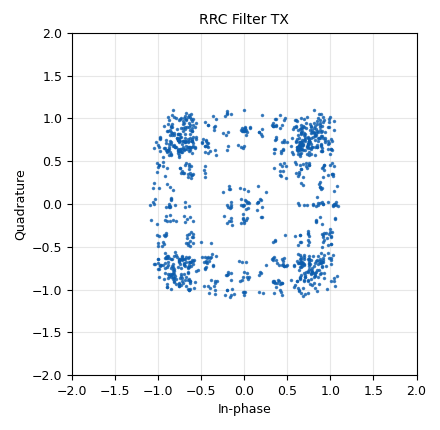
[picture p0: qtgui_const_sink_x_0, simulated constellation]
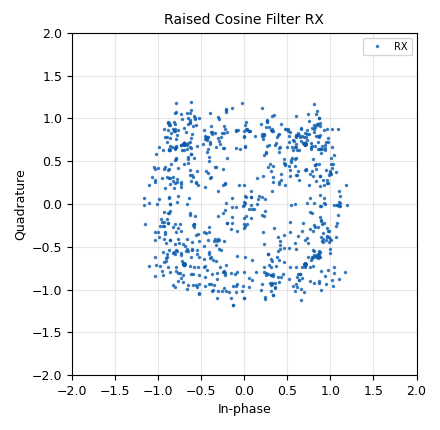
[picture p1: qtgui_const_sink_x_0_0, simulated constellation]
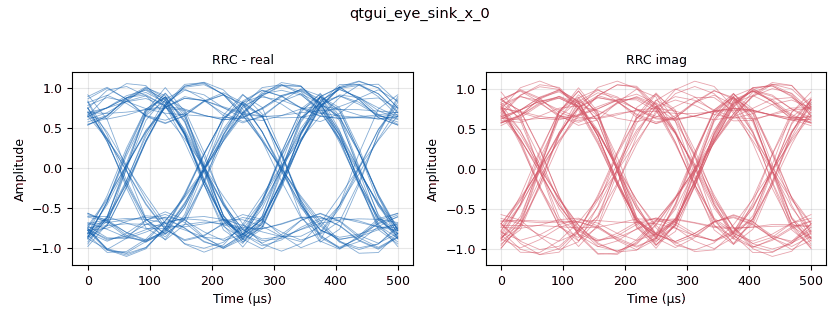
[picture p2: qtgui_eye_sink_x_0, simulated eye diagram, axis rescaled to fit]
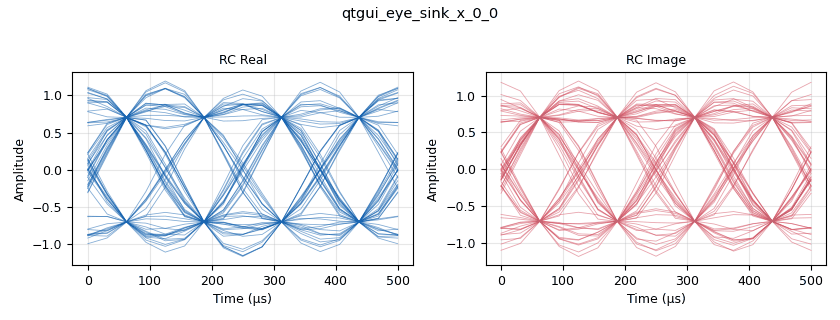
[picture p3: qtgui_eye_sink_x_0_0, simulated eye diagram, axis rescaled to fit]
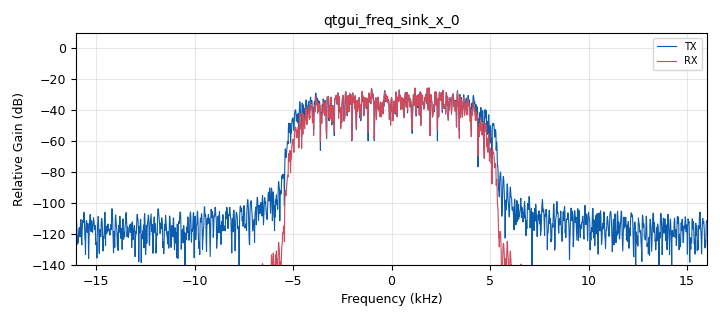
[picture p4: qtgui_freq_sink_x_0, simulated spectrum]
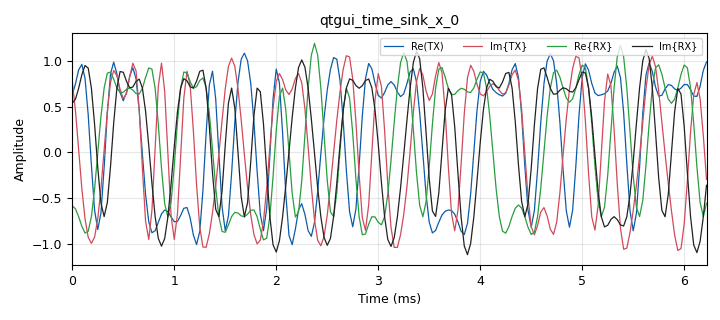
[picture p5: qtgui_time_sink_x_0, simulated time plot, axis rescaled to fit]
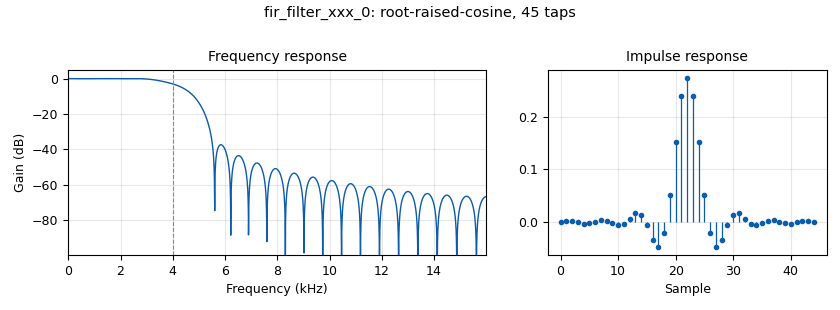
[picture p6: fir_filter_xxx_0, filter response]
options:
  parameters:
    generate_options: qt_gui
    id: QPSK_rx_tx
    output_language: python
    title: QPSK Stage 1
  states: {}

blocks:
- name: excess_bw
  id: variable
  parameters:
    value: '0.35'
  states: {}
- name: qpsk
  id: variable_constellation_rect
  parameters:
    const_points: '[0.707+0.707j, -0.707+0.707j, -0.707-0.707j, 0.707-0.707j]'
    imag_sect: '2'
    real_sect: '2'
    rot_sym: '4'
    sym_map: '[0, 1, 3, 2]'
    w_imag_sect: '1'
    w_real_sect: '1'
  states: {}
- name: rrc_taps
  id: variable
  parameters:
    value: firdes.root_raised_cosine(1.0,samp_rate,samp_rate/sps,excess_bw,11*sps)
  states: {}
- name: samp_rate
  id: variable
  parameters:
    value: '32000'
  states: {}
- name: sps
  id: variable
  parameters:
    value: '4'
  states: {}
- name: analog_random_source_x_0
  id: analog_random_source_x
  parameters:
    max: '256'
    min: '0'
    num_samps: '10000'
    repeat: 'True'
    type: byte
  states: {}
- name: blocks_throttle2_0
  id: blocks_throttle2
  parameters:
    samples_per_second: samp_rate
    type: complex
  states: {}
- name: digital_constellation_modulator_0
  id: digital_constellation_modulator
  parameters:
    constellation: qpsk
    differential: 'True'
    excess_bw: excess_bw
    samples_per_symbol: sps
  states: {}
- name: fir_filter_xxx_0
  id: fir_filter_xxx
  parameters:
    decim: '1'
    taps: rrc_taps
    type: ccc
  states: {}
- name: qtgui_const_sink_x_0
  id: qtgui_const_sink_x
  parameters:
    gui_hint: tabs@0:10,0,10,10
    label1: TX
    legend: 'False'
    marker1: '-1'
    name: '"RRC Filter TX"'
    size: '1024'
    style1: '1'
    type: complex
  states: {}
- name: qtgui_const_sink_x_0_0
  id: qtgui_const_sink_x
  parameters:
    color1: '"red"'
    gui_hint: tabs@0:10,10,10,10
    label1: RX
    marker1: '-1'
    name: '"Raised Cosine Filter RX"'
    size: '1024'
    style1: '1'
    type: complex
  states: {}
- name: qtgui_eye_sink_x_0
  id: qtgui_eye_sink_x
  parameters:
    color2: red
    grid: 'True'
    gui_hint: tabs@1:0,0,10,20
    label1: RRC - real
    label2: RRC imag
    samp_per_symbol: sps*2
    size: '1024'
    srate: samp_rate
    type: complex
  states: {}
- name: qtgui_eye_sink_x_0_0
  id: qtgui_eye_sink_x
  parameters:
    color2: red
    gui_hint: tabs@1:10,0,10,20
    label1: RC Real
    label2: RC Image
    samp_per_symbol: sps*2
    size: '1024'
    srate: samp_rate
    type: complex
  states: {}
- name: qtgui_freq_sink_x_0
  id: qtgui_freq_sink_x
  parameters:
    alpha1: '0.6'
    alpha2: '0.6'
    bw: samp_rate
    fc: '0'
    fftsize: '2048'
    gui_hint: tabs@0:0,10,10,10
    label1: TX
    label2: RX
    nconnections: '2'
    type: complex
    width1: '2'
    width2: '2'
  states: {}
- name: qtgui_time_sink_x_0
  id: qtgui_time_sink_x
  parameters:
    alpha1: '0.5'
    alpha2: '0.5'
    alpha3: '0.5'
    alpha4: '0.5'
    color2: dark red
    entags: 'False'
    gui_hint: tabs@0:0,0,10,10
    label1: Re(TX)
    label2: Im{TX}
    label3: Re{RX}
    label4: Im{RX}
    nconnections: '2'
    size: '200'
    srate: samp_rate
    type: complex
  states: {}
- name: tabs
  id: qtgui_tab_widget
  parameters:
    label0: Time, Frequency, Constellaition
    label1: Eye Diagrams
    num_tabs: '2'
  states: {}
- name: virtual_sink_0
  id: virtual_sink
  parameters:
    stream_id: tx
  states: {}
- name: virtual_sink_0_0
  id: virtual_sink
  parameters:
    stream_id: rx
  states: {}
- name: virtual_source_0
  id: virtual_source
  parameters:
    stream_id: rx
  states: {}
- name: virtual_source_1
  id: virtual_source
  parameters:
    stream_id: tx
  states: {}

connections:
- [analog_random_source_x_0, '0', digital_constellation_modulator_0, '0']
- [blocks_throttle2_0, '0', fir_filter_xxx_0, '0']
- [blocks_throttle2_0, '0', qtgui_const_sink_x_0, '0']
- [blocks_throttle2_0, '0', qtgui_eye_sink_x_0, '0']
- [blocks_throttle2_0, '0', virtual_sink_0, '0']
- [digital_constellation_modulator_0, '0', blocks_throttle2_0, '0']
- [fir_filter_xxx_0, '0', qtgui_const_sink_x_0_0, '0']
- [fir_filter_xxx_0, '0', qtgui_eye_sink_x_0_0, '0']
- [fir_filter_xxx_0, '0', virtual_sink_0_0, '0']
- [virtual_source_0, '0', qtgui_freq_sink_x_0, '1']
- [virtual_source_0, '0', qtgui_time_sink_x_0, '1']
- [virtual_source_1, '0', qtgui_freq_sink_x_0, '0']
- [virtual_source_1, '0', qtgui_time_sink_x_0, '0']

metadata:
  file_format: 1
  grc_version: 3.10.12.0
